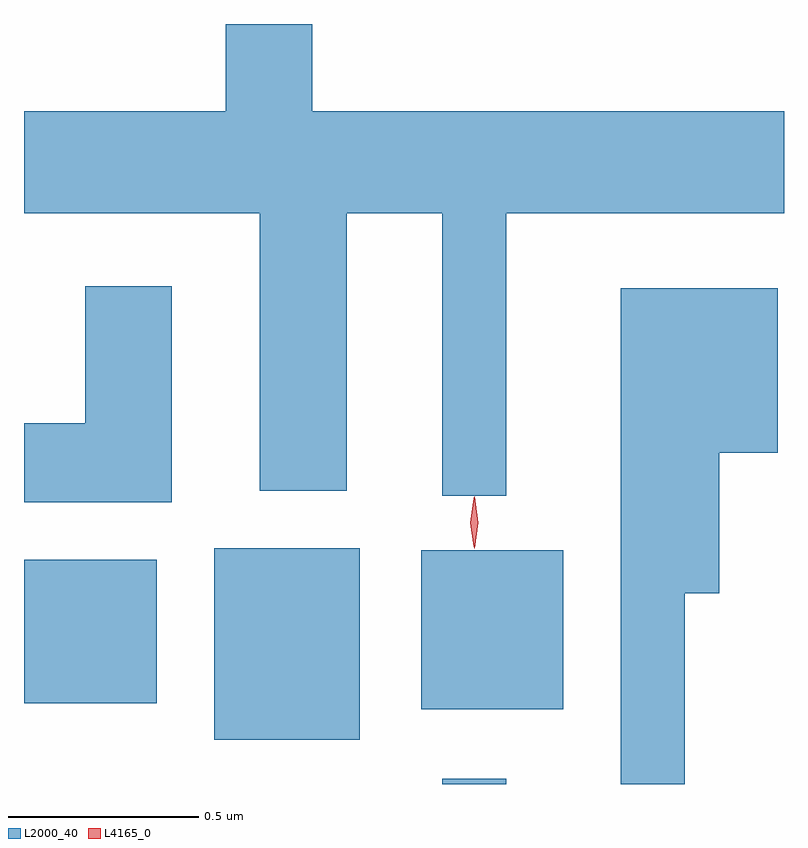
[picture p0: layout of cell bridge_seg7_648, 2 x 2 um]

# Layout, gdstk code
import gdstk
lib = gdstk.Library(unit=1e-6, precision=1e-09)
def R(c, l, rs):  # rectangles x0, y0, x1, y1
    for r in rs: c.add(gdstk.rectangle(r[:2], r[2:], *l))
def P(c, l, *ps):  # polygons
    for p in ps: c.add(gdstk.Polygon(p, *l))
L2000_40 = (2000, 40)
L4165_0 = (4165, 0)

bridge_seg7_648 = lib.new_cell('bridge_seg7_648')
R(bridge_seg7_648, L2000_40, [(813.271,1677.294,813.439,1677.308), (812.671,1677.411,813.054,1677.914), (813.216,1677.491,813.589,1677.909), (812.17,1677.506,812.519,1677.884)])
P(bridge_seg7_648, L2000_40, [(813.439,1678.796),(814.17,1678.796),(814.17,1679.064),(812.929,1679.064),(812.929,1679.294),(812.701,1679.294),(812.701,1679.064),(812.17,1679.064),(812.17,1678.796),(812.791,1678.796),(812.791,1678.066),(813.019,1678.066),(813.019,1678.796),(813.271,1678.796),(813.271,1678.053),(813.439,1678.053)],
  [(812.559,1678.604),(812.331,1678.604),(812.331,1678.244),(812.17,1678.244),(812.17,1678.036),(812.559,1678.036)],
  [(813.909,1677.796),(813.999,1677.796),(813.999,1678.166),(814.154,1678.166),(814.154,1678.599),(813.741,1678.599),(813.741,1677.294),(813.909,1677.294)])
P(bridge_seg7_648, L4165_0, [(813.355,1677.914),(813.346,1677.982),(813.355,1678.05),(813.356,1678.05),(813.356,1678.05),(813.366,1677.982),(813.356,1677.914),(813.356,1677.914)],
  [(813.354,1677.918),(813.354,1677.918),(813.344,1677.982),(813.354,1678.046),(813.354,1678.047),(813.355,1678.046),(813.364,1677.982),(813.355,1677.918)])

lib.write_gds('bridge_seg7_648.gds')
